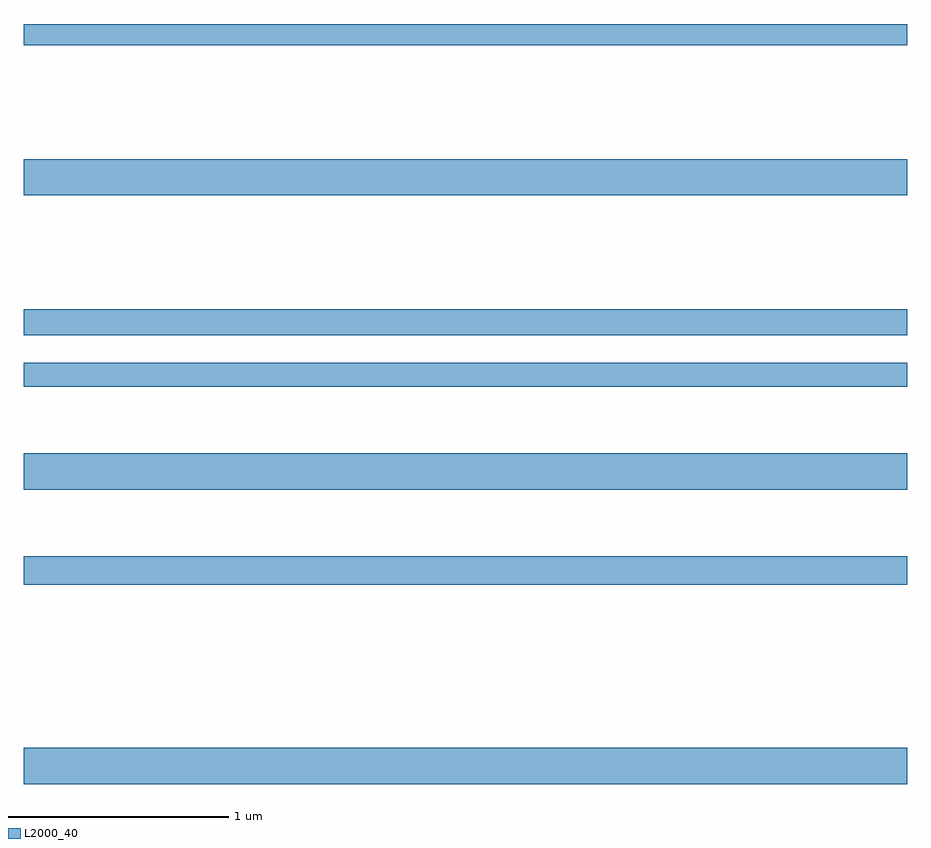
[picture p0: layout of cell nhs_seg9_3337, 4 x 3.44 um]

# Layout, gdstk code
import gdstk
lib = gdstk.Library(unit=1e-6, precision=1e-09)
def R(c, l, rs):  # rectangles x0, y0, x1, y1
    for r in rs: c.add(gdstk.rectangle(r[:2], r[2:], *l))
def A(c, l, x, y, w, h, nx, ny, dx, dy):  # array of equal rectangles
    R(c, l, [(x+i*dx, y+j*dy, x+i*dx+w, y+j*dy+h) for i in range(nx) for j in range(ny)])
L2000_40 = (2000, 40)

nhs_seg9_3337 = lib.new_cell('nhs_seg9_3337')
A(nhs_seg9_3337, L2000_40, 301, 1223.06, 4, 0.164, 1, 3, 0, 1.332)
R(nhs_seg9_3337, L2000_40, [(301,1223.962,305,1224.091), (301,1224.858,305,1224.966), (301,1225.092,305,1225.208), (301,1226.404,305,1226.5)])

lib.write_gds('nhs_seg9_3337.gds')
